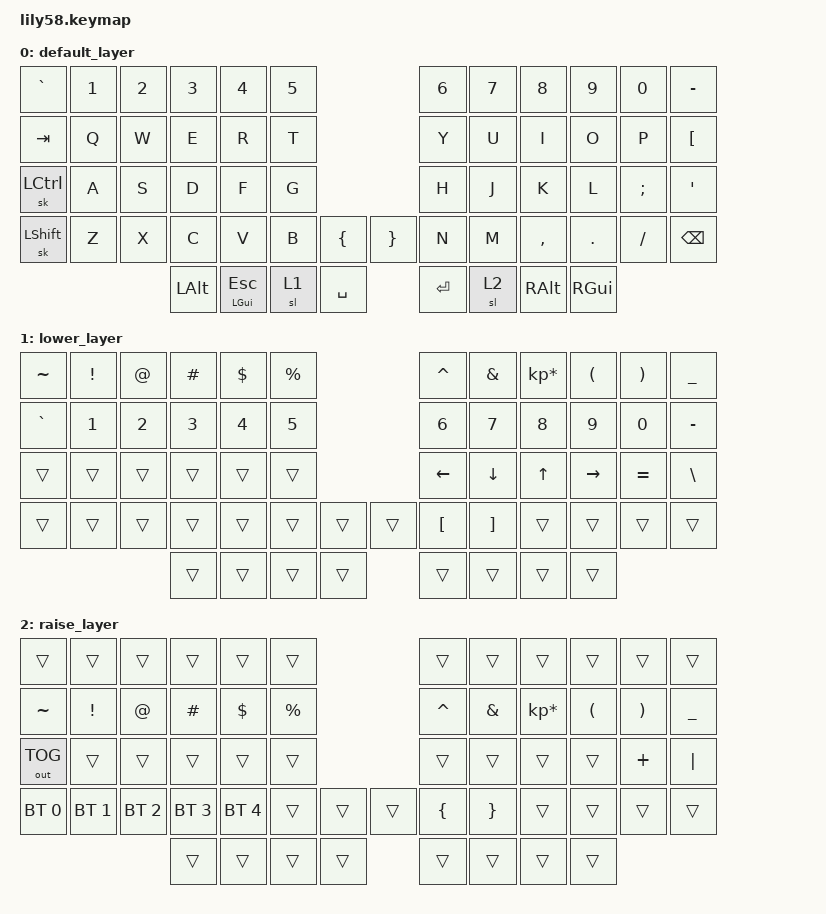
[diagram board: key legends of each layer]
/*
 * Copyright (c) 2020 The ZMK Contributors
 *
 * SPDX-License-Identifier: MIT
 */

#include <behaviors.dtsi>
#include <dt-bindings/zmk/keys.h>
#include <dt-bindings/zmk/bt.h>
#include <dt-bindings/zmk/outputs.h>

&mt {
    tapping-term-ms = <100>;
};

&sk {
    release-after-ms = <250>;
    // quick-release;
};

&sl {
    release-after-ms = <250>;
};



/ {
	keymap {
		compatible = "zmk,keymap";

		default_layer {
// ------------------------------------------------------------------------------------------------------------
// |  `    |  1  |  2  |  3   |  4   |  5   |                   |  6   |  7    |  8    |  9   |   0   |   -   |
// |  TAB  |  Q  |  W  |  E   |  R   |  T   |                   |  Y   |  U    |  I    |  O   |   P   |   [   |
// |  CTRL |  A  |  S  |  D   |  F   |  G   |                   |  H   |  J    |  K    |  L   |   ;   |   '   |
// | SHIFT |  Z  |  X  |  C   |  V   |  B   |   "{"  |  |  "}"  |  N   |  M    |  ,    |  .   |   /   | BKSP  |
//                     | ALT  | GUI  | LWR  |  SPACE |  | ENTER | RSE  | ALT   | GUI   |
			bindings = <
&kp GRAVE &kp N1 &kp N2 &kp N3   &kp N4   &kp N5                     &kp N6 &kp N7   &kp N8    &kp N9  &kp N0   &kp MINUS
&kp TAB   &kp Q  &kp W  &kp E    &kp R    &kp T                      &kp Y  &kp U    &kp I     &kp O   &kp P    &kp LBKT
&sk LCTRL &kp A  &kp S  &kp D    &kp F    &kp G                      &kp H  &kp J    &kp K     &kp L   &kp SEMI &kp SQT
&sk LSHFT &kp Z  &kp X  &kp C    &kp V    &kp B  &kp LBRC   &kp RBRC &kp N  &kp M    &kp COMMA &kp DOT &kp FSLH &kp BSPC
                        &kp LALT &mt LGUI ESC &sl 1  &kp SPACE  &kp RET  &sl 2  &kp RALT &kp RGUI
			>;
		};

		lower_layer {
// ------------------------------------------------------------------------------------------------------------
// |   ~   |  !  |  @  |  #   |  $   |  %   |                   |  ^   |  &    |  *    |  (   |   )   |   _   |
// |  `    |  1  |  2  |  3   |  4   |  5   |                   |  6   |  7    |  8    |  9   |   0   |   -   |
// |       |     |     |      |      |      |                   | LEFT |  UP   | DOWN  | RIGHT|   =   |  "\"  |
// |       |     |     |      |      |      |        |  |       |  "[" | "]"   |       |      |       |       |
//                     |      |      |      |        |  |       |      |       |       |
			bindings = <
&kp TILDE  &kp EXCL  &kp AT  &kp HASH  &kp DOLLAR  &kp PRCNT                    &kp CARET &kp AMPS  &kp KP_MULTIPLY &kp LPAR  &kp RPAR  &kp UNDER
&kp GRAVE  &kp N1    &kp N2  &kp N3    &kp N4      &kp N5                       &kp N6    &kp N7    &kp N8          &kp N9    &kp N0    &kp MINUS
&trans     &trans    &trans  &trans    &trans      &trans                       &kp LEFT  &kp DOWN  &kp UP          &kp RIGHT &kp EQUAL &kp BSLH
&trans     &trans    &trans  &trans    &trans      &trans    &trans   &trans    &kp LBKT  &kp RBKT  &trans          &trans    &trans    &trans
                             &trans    &trans      &trans    &trans   &trans    &trans    &trans    &trans
			>;
		};
		raise_layer {
// ------------------------------------------------------------------------------------------------------------
// |       |     |     |      |      |      |                   |      |       |       |      |       |       |
// |   ~   |  !  |  @  |  #   |  $   |  %   |                   |  ^   |  &    |  *    |  (   |   )   |   _   |
// |       |     |     |      |      |      |                   |      |       |       |      |   +   |  "|"  |
// |       |     |     |      |      |      |        |  |       |  "{" | "}"   |       |      |       |       |
//                     |      |      |      |        |  |       |      |       |       |
			bindings = <
&trans        &trans        &trans        &trans        &trans        &trans                       &trans    &trans    &trans          &trans    &trans    &trans
&kp TILDE     &kp EXCL      &kp AT        &kp HASH      &kp DOLLAR    &kp PRCNT                    &kp CARET &kp AMPS  &kp KP_MULTIPLY &kp LPAR  &kp RPAR  &kp UNDER
&out OUT_TOG  &trans        &trans        &trans        &trans        &trans                       &trans    &trans    &trans          &trans    &kp PLUS  &kp PIPE
&bt BT_SEL 0  &bt BT_SEL 1  &bt BT_SEL 2  &bt BT_SEL 3  &bt BT_SEL 4  &trans    &trans   &trans    &kp LBRC  &kp RBRC  &trans          &trans    &trans    &trans
                                          &trans        &trans        &trans    &trans   &trans    &trans    &trans    &trans
			>;
		};

	};
};
